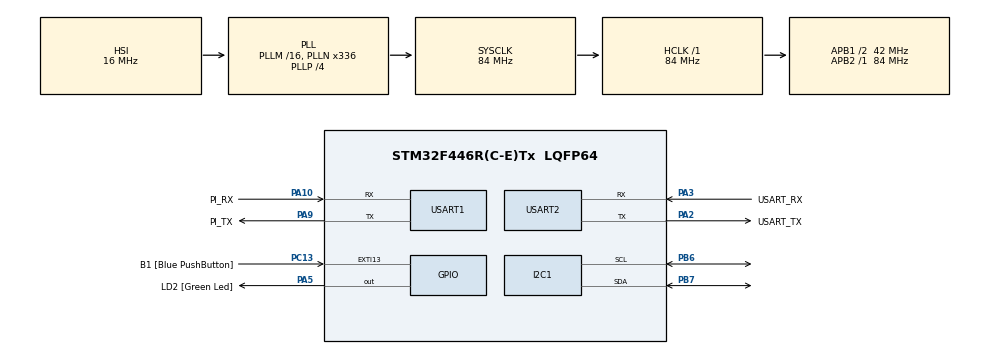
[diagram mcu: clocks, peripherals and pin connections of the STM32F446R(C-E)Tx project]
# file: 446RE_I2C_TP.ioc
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Mcu.Family=STM32F4
Mcu.Name=STM32F446R(C-E)Tx
Mcu.Package=LQFP64
NVIC.PriorityGroup=NVIC_PRIORITYGROUP_0
NVIC.USART1_IRQn=true\:0\:0\:false\:false\:true\:true\:true\:true
NVIC.USART2_IRQn=true\:0\:0\:false\:false\:true\:true\:true\:true
PA10.GPIO_Label=PI_RX
PA10.Mode=Asynchronous
PA10.Signal=USART1_RX
PA13.GPIO_Label=TMS
PA13.Mode=Serial_Wire
PA13.Signal=SYS_JTMS-SWDIO
PA14.GPIO_Label=TCK
PA14.Mode=Serial_Wire
PA14.Signal=SYS_JTCK-SWCLK
PA2.GPIO_Label=USART_TX
PA2.Mode=Asynchronous
PA2.Signal=USART2_TX
PA3.GPIO_Label=USART_RX
PA3.Mode=Asynchronous
PA3.Signal=USART2_RX
PA5.GPIO_Label=LD2 [Green Led]
PA5.Signal=GPIO_Output
PA9.GPIO_Label=PI_TX
PA9.Mode=Asynchronous
PA9.Signal=USART1_TX
PB3.GPIO_Label=SWO
PB3.Signal=SYS_JTDO-SWO
PB6.Mode=I2C
PB6.Signal=I2C1_SCL
PB7.Mode=I2C
PB7.Signal=I2C1_SDA
PC13.GPIO_Label=B1 [Blue PushButton]
PC13.GPIO_ModeDefaultEXTI=GPIO_MODE_IT_FALLING
PC13.Signal=GPXTI13
PC14-OSC32_IN.Mode=LSE-External-Oscillator
PC14-OSC32_IN.Signal=RCC_OSC32_IN
PC15-OSC32_OUT.Mode=LSE-External-Oscillator
PC15-OSC32_OUT.Signal=RCC_OSC32_OUT
PH0-OSC_IN.Mode=HSE-External-Oscillator
PH0-OSC_IN.Signal=RCC_OSC_IN
PH1-OSC_OUT.Mode=HSE-External-Oscillator
PH1-OSC_OUT.Signal=RCC_OSC_OUT
ProjectManager.HeapSize=0x200
ProjectManager.StackSize=0x400
ProjectManager.TargetToolchain=STM32CubeIDE
RCC.48MHZClocksFreq_Value=84000000
RCC.AHBFreq_Value=84000000
RCC.APB1CLKDivider=RCC_HCLK_DIV2
RCC.APB1Freq_Value=42000000
RCC.APB1TimFreq_Value=84000000
RCC.APB2Freq_Value=84000000
RCC.APB2TimFreq_Value=84000000
RCC.CortexFreq_Value=84000000
RCC.FLatency-AdvancedSettings=FLASH_LATENCY_2
RCC.HCLKFreq_Value=84000000
RCC.HSE_VALUE=8000000
RCC.HSI_VALUE=16000000
RCC.PLLN=336
RCC.PLLP=RCC_PLLP_DIV4
RCC.SYSCLKFreq_VALUE=84000000
RCC.SYSCLKSource=RCC_SYSCLKSOURCE_PLLCLK
RCC.USBFreq_Value=168000000
RCC.VCOOutputFreq_Value=336000000
USART1.VirtualMode=VM_ASYNC
USART2.VirtualMode=VM_ASYNC
board=NUCLEO-F446RE

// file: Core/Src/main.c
/* USER CODE BEGIN Header */
/**
  ******************************************************************************
  * @file           : main.c
  * @brief          : Main program body
  ******************************************************************************
  * @attention
  *
  * Copyright (c) 2023 STMicroelectronics.
  * All rights reserved.
  *
  * This software is licensed under terms that can be found in the LICENSE file
  * in the root directory of this software component.
  * If no LICENSE file comes with this software, it is provided AS-IS.
  *
  ******************************************************************************
  */
/* USER CODE END Header */
#include "main.h"
#include "i2c.h"
#include "usart.h"
#include "gpio.h"

/* USER CODE BEGIN Includes */
#include <stdio.h>
#include "bmp280.h"
#include "shell.h"
/* USER CODE END Includes */

/* USER CODE BEGIN PV */
h_bmp280_t bmp280;
/* USER CODE END PV */

void SystemClock_Config(void);
/* USER CODE BEGIN PFP */
int _write(int file, char *ptr, int len) {
	int DataIdx;

	for (DataIdx = 0; DataIdx < len; DataIdx++) {
		HAL_UART_Transmit(&huart2, (uint8_t *) ptr++, 1, HAL_MAX_DELAY);
	}
	for (DataIdx = 0; DataIdx < len; DataIdx++) {
		HAL_UART_Transmit(&huart1, (uint8_t *) ptr++, 1, HAL_MAX_DELAY);
	}

	return len;
}
/* USER CODE END PFP */

int main(void)
{

  /* MCU Configuration--------------------------------------------------------*/

  /* Reset of all peripherals, Initializes the Flash interface and the Systick. */
  HAL_Init();

  /* Configure the system clock */
  SystemClock_Config();

  /* Initialize all configured peripherals */
  MX_GPIO_Init();
  MX_USART2_UART_Init();
  MX_I2C1_Init();
  MX_USART1_UART_Init();
  /* USER CODE BEGIN 2 */
  printf("test\r\n");
  bmp_reset(&bmp280);
  printf("reset done\r\n");
  bmp_id(&bmp280);
  printf("id done\r\n");
  bmp_config(&bmp280);
  printf("config done\r\n");
  HAL_Delay(500);
  bmp_calib_read(&bmp280);
  printf("calib done\r\n");
  Shell_Init();
  /* USER CODE END 2 */

  /* Infinite loop */
  /* USER CODE BEGIN WHILE */
  while (1)
  {
	  /*bmp_temp_read(&bmp280);
	  bmp_press_read(&bmp280);
	  HAL_Delay(1000);*/
	  if(HAL_GPIO_ReadPin(B1_GPIO_Port, B1_Pin)){

	  }
	  Shell_Loop();
    /* USER CODE END WHILE */

  }
}

void SystemClock_Config(void)
{
  RCC_OscInitTypeDef RCC_OscInitStruct = {0};
  RCC_ClkInitTypeDef RCC_ClkInitStruct = {0};

  /** Configure the main internal regulator output voltage
  */
  __HAL_RCC_PWR_CLK_ENABLE();
  __HAL_PWR_VOLTAGESCALING_CONFIG(PWR_REGULATOR_VOLTAGE_SCALE3);

  /** Initializes the RCC Oscillators according to the specified parameters
  * in the RCC_OscInitTypeDef structure.
  */
  RCC_OscInitStruct.OscillatorType = RCC_OSCILLATORTYPE_HSI;
  RCC_OscInitStruct.HSIState = RCC_HSI_ON;
  RCC_OscInitStruct.HSICalibrationValue = RCC_HSICALIBRATION_DEFAULT;
  RCC_OscInitStruct.PLL.PLLState = RCC_PLL_ON;
  RCC_OscInitStruct.PLL.PLLSource = RCC_PLLSOURCE_HSI;
  RCC_OscInitStruct.PLL.PLLM = 16;
  RCC_OscInitStruct.PLL.PLLN = 336;
  RCC_OscInitStruct.PLL.PLLP = RCC_PLLP_DIV4;
  RCC_OscInitStruct.PLL.PLLQ = 2;
  RCC_OscInitStruct.PLL.PLLR = 2;
  if (HAL_RCC_OscConfig(&RCC_OscInitStruct) != HAL_OK)
  {
    Error_Handler();
  }

  /** Initializes the CPU, AHB and APB buses clocks
  */
  RCC_ClkInitStruct.ClockType = RCC_CLOCKTYPE_HCLK|RCC_CLOCKTYPE_SYSCLK
                              |RCC_CLOCKTYPE_PCLK1|RCC_CLOCKTYPE_PCLK2;
  RCC_ClkInitStruct.SYSCLKSource = RCC_SYSCLKSOURCE_PLLCLK;
  RCC_ClkInitStruct.AHBCLKDivider = RCC_SYSCLK_DIV1;
  RCC_ClkInitStruct.APB1CLKDivider = RCC_HCLK_DIV2;
  RCC_ClkInitStruct.APB2CLKDivider = RCC_HCLK_DIV1;

  if (HAL_RCC_ClockConfig(&RCC_ClkInitStruct, FLASH_LATENCY_2) != HAL_OK)
  {
    Error_Handler();
  }
}

void Error_Handler(void)
{
  __disable_irq();
  while (1)
  {
  }
}
